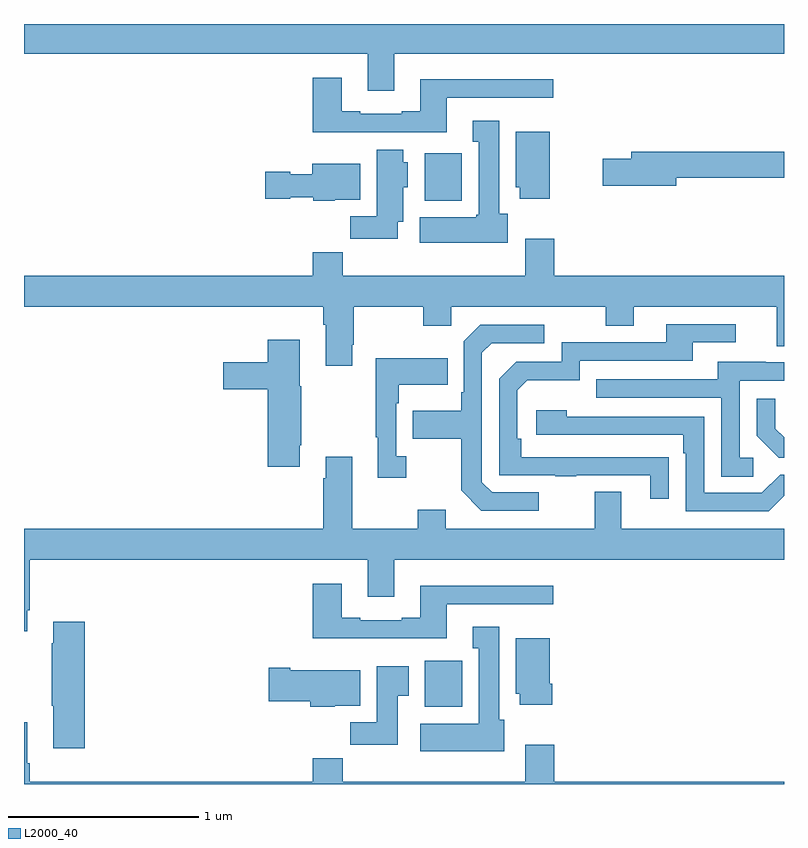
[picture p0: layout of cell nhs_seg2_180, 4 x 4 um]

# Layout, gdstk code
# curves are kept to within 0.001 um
import gdstk
lib = gdstk.Library(unit=1e-6, precision=1e-09)
def R(c, l, rs):  # rectangles x0, y0, x1, y1
    for r in rs: c.add(gdstk.rectangle(r[:2], r[2:], *l))
def P(c, l, *ps):  # polygons
    for p in ps: c.add(gdstk.Polygon(p, *l))
L2000_40 = (2000, 40)

nhs_seg2_180 = lib.new_cell('nhs_seg2_180')
R(nhs_seg2_180, L2000_40, [(121.109,636.206,121.306,636.448), (121.109,638.87,121.305,639.121)])
P(nhs_seg2_180, L2000_40, [(120.949,639.644),(123,639.644),(123,639.8),(119,639.8),(119,639.644),(120.809,639.644),(120.809,639.45),(120.949,639.45)],
  [(120.765,639.231),(121.225,639.231),(121.225,639.411),(121.786,639.411),(121.786,639.508),(121.085,639.508),(121.085,639.34),(120.989,639.34),(120.989,639.327),(120.769,639.327),(120.769,639.34),(120.673,639.34),(120.673,639.517),(120.521,639.517),(120.521,639.23),(120.765,639.23)],
  [(121.546,638.802),(121.501,638.802),(121.501,639.292),(121.361,639.292),(121.361,639.179),(121.394,639.179),(121.394,638.796),(121.381,638.796),(121.381,638.782),(121.082,638.782),(121.082,638.648),(121.546,638.648)],
  [(121.768,639.232),(121.589,639.232),(121.589,638.94),(121.61,638.94),(121.61,638.88),(121.768,638.88)],
  [(120.967,638.759),(120.997,638.759),(120.997,638.94),(121.021,638.94),(121.021,639.072),(120.997,639.072),(120.997,639.139),(120.857,639.139),(120.857,638.788),(120.718,638.788),(120.718,638.67),(120.967,638.67)],
  [(122.434,638.992),(123,638.992),(123,639.128),(122.195,639.128),(122.195,639.092),(122.046,639.092),(122.046,638.95),(122.434,638.95)],
  [(120.636,638.876),(120.769,638.876),(120.769,639.064),(120.518,639.064),(120.518,639.01),(120.402,639.01),(120.402,639.023),(120.27,639.023),(120.27,638.881),(120.402,638.881),(120.402,638.888),(120.522,638.888),(120.522,638.87),(120.636,638.87)],
  [(120.727,638.113),(120.735,638.113),(120.735,638.312),(121.102,638.312),(121.102,638.213),(121.248,638.213),(121.248,638.312),(122.062,638.312),(122.062,638.213),(122.209,638.213),(122.209,638.312),(122.963,638.312),(122.963,638.104),(123,638.104),(123,638.476),(121.79,638.476),(121.79,638.671),(121.637,638.671),(121.637,638.476),(120.677,638.476),(120.677,638.6),(120.521,638.6),(120.521,638.476),(119,638.476),(119,638.312),(120.575,638.312),(120.575,638.216),(120.587,638.216),(120.587,638.001),(120.727,638.001)],
  [(122.393,637.52),(121.616,637.521),(121.616,637.618),(121.596,637.618),(121.596,637.872),(121.649,637.925),(121.926,637.925),(121.926,638.028),(122.521,638.028),(122.521,638.124),(122.746,638.124),(122.746,638.22),(122.381,638.22),(122.381,638.124),(121.83,638.124),(121.83,638.022),(121.59,638.022),(121.5,637.932),(121.5,637.425),(121.795,637.425),(121.795,637.42),(121.907,637.42),(121.907,637.425),(122.297,637.425),(122.297,637.302),(122.393,637.302)],
  [(121.708,637.335),(121.464,637.335),(121.41,637.389),(121.41,638.07),(121.461,638.121),(121.738,638.121),(121.738,638.217),(121.401,638.217),(121.314,638.13),(121.314,637.861),(121.302,637.861),(121.302,637.765),(121.045,637.765),(121.045,637.618),(121.302,637.618),(121.302,637.345),(121.407,637.239),(121.708,637.239)],
  [(120.451,637.582),(120.459,637.582),(120.459,637.893),(120.451,637.893),(120.451,638.137),(120.284,638.137),(120.284,638.019),(120.048,638.019),(120.048,637.877),(120.284,637.877),(120.284,637.47),(120.451,637.47)],
  [(121.012,637.526),(120.96,637.526),(120.96,637.805),(120.973,637.805),(120.973,637.901),(121.229,637.901),(121.229,638.041),(120.852,638.041),(120.852,637.625),(120.863,637.625),(120.863,637.413),(121.012,637.413)],
  [(122.839,637.518),(122.766,637.518),(122.766,637.923),(123,637.923),(123,638.019),(122.905,638.019),(122.905,638.023),(122.651,638.023),(122.651,637.929),(122.011,637.929),(122.011,637.833),(122.67,637.833),(122.67,637.417),(122.839,637.417)],
  [(123,637.624),(122.953,637.671),(122.953,637.828),(122.856,637.828),(122.856,637.634),(122.972,637.518),(123,637.518)],
  [(123,637.317),(123,637.428),(122.979,637.428),(122.883,637.332),(122.58,637.332),(122.58,637.734),(121.856,637.734),(121.856,637.768),(121.695,637.768),(121.695,637.638),(122.471,637.638),(122.471,637.541),(122.484,637.541),(122.484,637.236),(122.919,637.236)],
  [(119.017,636.715),(119.03,636.715),(119.03,636.98),(120.809,636.98),(120.809,636.786),(120.949,636.786),(120.949,636.98),(123,636.98),(123,637.144),(122.143,637.144),(122.143,637.339),(122.003,637.339),(122.003,637.144),(121.219,637.144),(121.219,637.243),(121.072,637.243),(121.072,637.144),(120.727,637.144),(120.727,637.522),(120.587,637.522),(120.587,637.409),(120.575,637.409),(120.575,637.144),(119,637.144),(119,636.603),(119.017,636.603)],
  [(121.225,636.747),(121.786,636.747),(121.786,636.844),(121.085,636.844),(121.085,636.676),(120.989,636.676),(120.989,636.663),(120.769,636.663),(120.769,636.676),(120.673,636.676),(120.673,636.853),(120.521,636.853),(120.521,636.566),(121.225,636.566)],
  [(119.321,636.655),(119.153,636.655),(119.153,636.542),(119.146,636.542),(119.146,636.211),(119.153,636.211),(119.153,635.988),(119.321,635.988)],
  [(121.528,636.138),(121.501,636.138),(121.501,636.628),(121.361,636.628),(121.361,636.515),(121.394,636.515),(121.394,636.118),(121.085,636.118),(121.085,635.972),(121.528,635.972)],
  [(121.781,636.328),(121.768,636.328),(121.768,636.568),(121.589,636.568),(121.589,636.276),(121.61,636.276),(121.61,636.216),(121.781,636.216)],
  [(120.967,636.265),(121.024,636.265),(121.024,636.421),(120.857,636.421),(120.857,636.124),(120.718,636.124),(120.718,636.006),(120.967,636.006)],
  [(120.636,636.212),(120.769,636.212),(120.769,636.4),(120.4,636.4),(120.4,636.413),(120.288,636.413),(120.288,636.235),(120.506,636.235),(120.506,636.206),(120.636,636.206)],
  [(123,635.812),(121.79,635.812),(121.79,636.007),(121.637,636.007),(121.637,635.812),(120.677,635.812),(120.677,635.936),(120.521,635.936),(120.521,635.812),(119.03,635.812),(119.03,635.908),(119.017,635.908),(119.017,636.124),(119,636.124),(119,635.8),(123,635.8)])

lib.write_gds('nhs_seg2_180.gds')
